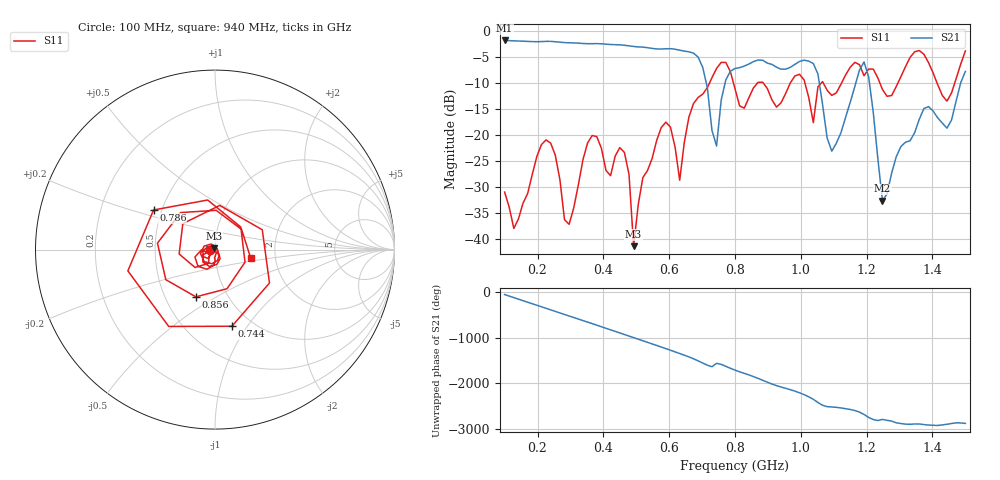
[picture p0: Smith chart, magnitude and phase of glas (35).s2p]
! NanoVNA-App
! Date: 2025-09-25 15:55:45
! Start: 100MHz Stop: 1,5GHz Points: 101
! S-Parameter data: F S11 S21 S12 S22
# Hz S RI R 50
!  Frequency  S11_Real  S11_Imag  S21_Real  S21_Imag  S12_Real  S12_Imag  S22_Real  S22_Imag
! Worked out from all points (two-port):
!   101 points, 100 MHz to 1.5 GHz, reference 50 ohm
!   highest |S21| = -1.80 dB at 100 MHz (marker M1); lowest = -32.6 dB at 1.248 GHz (marker M2)
!   |S21| within 3 dB of the highest: start of sweep to 684.2 MHz
!   lowest |S11| = -41.4 dB at 492 MHz (marker M3), VSWR 1.02, Z = 49.5 + j0.657 ohm
!   |S11| at or under -10 dB: start of sweep to 722.5 MHz; 795.4 MHz to 868.2 MHz (72.82 MHz wide, 8.75 % of centre); 886 MHz to 967.8 MHz (81.73 MHz wide, 8.82 % of centre) (the widest 3 of 7)
!   S12 and S22 are empty: the file has one direction only
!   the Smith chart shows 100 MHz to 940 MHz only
!   S11 on the Smith chart (normalised r, x): 100 MHz: 0.95, -0.01; 744 MHz: 0.81, -0.85; 786 MHz: 0.45, +0.24; 856 MHz: 0.71, -0.41; 940 MHz: 1.49, -0.15
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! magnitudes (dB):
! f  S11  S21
! 100 MHz  -31.0  -1.8
! 128 MHz  -37.9  -1.9
! 226 MHz  -20.9  -2.0
! 296 MHz  -37.2  -2.2
! 338 MHz  -24.7  -2.4
! 464 MHz  -23.3  -2.7
! 492 MHz  -41.4  -3.0
! 576 MHz  -18.5  -3.5
! 632 MHz  -28.7  -3.7
! 702 MHz  -12.1  -7.0
! 744 MHz  -7.2  -22.1
! 786 MHz  -7.8  -7.7
! 800 MHz  -11.1  -7.2
! 856 MHz  -10.9  -5.9
! 940 MHz  -13.8  -7.3
! 996 MHz  -8.3  -5.8
! 1.038 GHz  -17.6  -6.3
! 1.094 GHz  -12.4  -23.1
! 1.192 GHz  -8.6  -5.9
! 1.248 GHz  -11.2  -32.6
! 1.276 GHz  -12.4  -27.3
! 1.5 GHz  -3.8  -7.8
